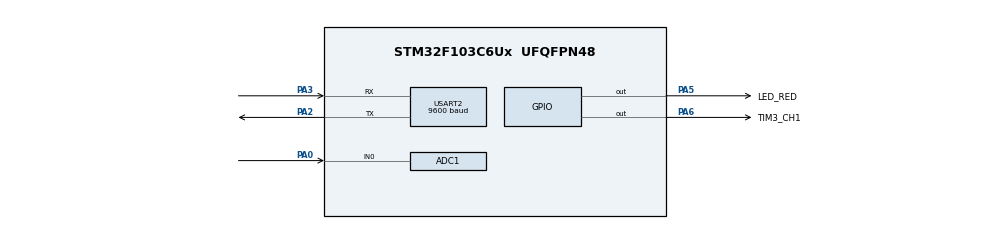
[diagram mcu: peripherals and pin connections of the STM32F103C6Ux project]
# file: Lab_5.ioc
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ADC1.Channel-0\#ChannelRegularConversion=ADC_CHANNEL_0
ADC1.ContinuousConvMode=ENABLE
ADC1.NbrOfConversionFlag=1
ADC1.Rank-0\#ChannelRegularConversion=1
ADC1.SamplingTime-0\#ChannelRegularConversion=ADC_SAMPLETIME_1CYCLE_5
ADC1.master=1
Mcu.Family=STM32F1
Mcu.Name=STM32F103C6Ux
Mcu.Package=UFQFPN48
NVIC.PriorityGroup=NVIC_PRIORITYGROUP_4
NVIC.TIM2_IRQn=true\:0\:0\:false\:false\:true\:true\:true
NVIC.USART2_IRQn=true\:0\:0\:false\:false\:true\:true\:true
PA0-WKUP.Signal=ADCx_IN0
PA2.Mode=Asynchronous
PA2.Signal=USART2_TX
PA3.Mode=Asynchronous
PA3.Signal=USART2_RX
PA5.GPIO_Label=LED_RED
PA5.Signal=GPIO_Output
PA6.GPIO_Label=TIM3_CH1
PA6.Signal=GPIO_Output
ProjectManager.HeapSize=0x200
ProjectManager.StackSize=0x400
ProjectManager.TargetToolchain=STM32CubeIDE
RCC.APB1Freq_Value=8000000
RCC.APB2Freq_Value=8000000
SH.ADCx_IN0.0=ADC1_IN0,IN0
TIM2.Period=9
TIM2.Prescaler=7999
USART2.BaudRate=9600
USART2.VirtualMode=VM_ASYNC
VP_SYS_VS_ND.Mode=No_Debug
VP_TIM2_VS_ClockSourceINT.Mode=Internal
board=custom

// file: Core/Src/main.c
/* USER CODE BEGIN Header */
/**
  ******************************************************************************
  * @file           : main.c
  * @brief          : Main program body
  ******************************************************************************
  * @attention
  *
  * <h2><center>&copy; Copyright (c) 2023 STMicroelectronics.
  * All rights reserved.</center></h2>
  *
  * This software component is licensed by ST under BSD 3-Clause license,
  * the "License"; You may not use this file except in compliance with the
  * License. You may obtain a copy of the License at:
  *                        opensource.org/licenses/BSD-3-Clause
  *
  ******************************************************************************
  */
/* USER CODE END Header */
#include "main.h"
#include "software_timer.h"
#include "uart.h"
#include "stdio.h"
#include "string.h"

ADC_HandleTypeDef hadc1;

TIM_HandleTypeDef htim2;

UART_HandleTypeDef huart2;

void SystemClock_Config(void);
static void MX_GPIO_Init(void);
static void MX_ADC1_Init(void);
static void MX_USART2_UART_Init(void);
static void MX_TIM2_Init(void);

int main(void)
{

  /* MCU Configuration--------------------------------------------------------*/

  /* Reset of all peripherals, Initializes the Flash interface and the Systick. */
  HAL_Init();

  /* Configure the system clock */
  SystemClock_Config();

  /* Initialize all configured peripherals */
  MX_GPIO_Init();
  MX_ADC1_Init();
  MX_USART2_UART_Init();
  MX_TIM2_Init();
  /* USER CODE BEGIN 2 */
  HAL_TIM_Base_Start_IT(&htim2);
  HAL_ADC_Start(&hadc1);

  uint8_t wait_data[]="Wait a lots \r";
  HAL_Delay(2000);
  HAL_UART_Transmit(&huart2, wait_data, sizeof(wait_data), 1000);
  HAL_UART_Receive_IT(&huart2, &temp, 1);
  setTimer1(100);
  /* USER CODE END 2 */

  /* Infinite loop */
  while (1)
  {
	  if (buffer_flag == 1)
	  {
		  command_parser_fsm();
		  buffer_flag = 0;
	  }
	  uart_communication_fsm();
	  if (timer1_flag == 1)
	  {
		  setTimer1(100);
		  HAL_GPIO_TogglePin(LED_RED_GPIO_Port, LED_RED_Pin);
	  }
  }
}

void SystemClock_Config(void)
{
  RCC_OscInitTypeDef RCC_OscInitStruct = {0};
  RCC_ClkInitTypeDef RCC_ClkInitStruct = {0};
  RCC_PeriphCLKInitTypeDef PeriphClkInit = {0};

  /** Initializes the RCC Oscillators according to the specified parameters
  * in the RCC_OscInitTypeDef structure.
  */
  RCC_OscInitStruct.OscillatorType = RCC_OSCILLATORTYPE_HSI;
  RCC_OscInitStruct.HSIState = RCC_HSI_ON;
  RCC_OscInitStruct.HSICalibrationValue = RCC_HSICALIBRATION_DEFAULT;
  RCC_OscInitStruct.PLL.PLLState = RCC_PLL_NONE;
  if (HAL_RCC_OscConfig(&RCC_OscInitStruct) != HAL_OK)
  {
    Error_Handler();
  }
  /** Initializes the CPU, AHB and APB buses clocks
  */
  RCC_ClkInitStruct.ClockType = RCC_CLOCKTYPE_HCLK|RCC_CLOCKTYPE_SYSCLK
                              |RCC_CLOCKTYPE_PCLK1|RCC_CLOCKTYPE_PCLK2;
  RCC_ClkInitStruct.SYSCLKSource = RCC_SYSCLKSOURCE_HSI;
  RCC_ClkInitStruct.AHBCLKDivider = RCC_SYSCLK_DIV1;
  RCC_ClkInitStruct.APB1CLKDivider = RCC_HCLK_DIV1;
  RCC_ClkInitStruct.APB2CLKDivider = RCC_HCLK_DIV1;

  if (HAL_RCC_ClockConfig(&RCC_ClkInitStruct, FLASH_LATENCY_0) != HAL_OK)
  {
    Error_Handler();
  }
  PeriphClkInit.PeriphClockSelection = RCC_PERIPHCLK_ADC;
  PeriphClkInit.AdcClockSelection = RCC_ADCPCLK2_DIV2;
  if (HAL_RCCEx_PeriphCLKConfig(&PeriphClkInit) != HAL_OK)
  {
    Error_Handler();
  }
}

static void MX_ADC1_Init(void)
{

  ADC_ChannelConfTypeDef sConfig = {0};

  /** Common config
  */
  hadc1.Instance = ADC1;
  hadc1.Init.ScanConvMode = ADC_SCAN_DISABLE;
  hadc1.Init.ContinuousConvMode = ENABLE;
  hadc1.Init.DiscontinuousConvMode = DISABLE;
  hadc1.Init.ExternalTrigConv = ADC_SOFTWARE_START;
  hadc1.Init.DataAlign = ADC_DATAALIGN_RIGHT;
  hadc1.Init.NbrOfConversion = 1;
  if (HAL_ADC_Init(&hadc1) != HAL_OK)
  {
    Error_Handler();
  }
  /** Configure Regular Channel
  */
  sConfig.Channel = ADC_CHANNEL_0;
  sConfig.Rank = ADC_REGULAR_RANK_1;
  sConfig.SamplingTime = ADC_SAMPLETIME_1CYCLE_5;
  if (HAL_ADC_ConfigChannel(&hadc1, &sConfig) != HAL_OK)
  {
    Error_Handler();
  }

}

static void MX_TIM2_Init(void)
{

  TIM_ClockConfigTypeDef sClockSourceConfig = {0};
  TIM_MasterConfigTypeDef sMasterConfig = {0};

  htim2.Instance = TIM2;
  htim2.Init.Prescaler = 7999;
  htim2.Init.CounterMode = TIM_COUNTERMODE_UP;
  htim2.Init.Period = 9;
  htim2.Init.ClockDivision = TIM_CLOCKDIVISION_DIV1;
  htim2.Init.AutoReloadPreload = TIM_AUTORELOAD_PRELOAD_DISABLE;
  if (HAL_TIM_Base_Init(&htim2) != HAL_OK)
  {
    Error_Handler();
  }
  sClockSourceConfig.ClockSource = TIM_CLOCKSOURCE_INTERNAL;
  if (HAL_TIM_ConfigClockSource(&htim2, &sClockSourceConfig) != HAL_OK)
  {
    Error_Handler();
  }
  sMasterConfig.MasterOutputTrigger = TIM_TRGO_RESET;
  sMasterConfig.MasterSlaveMode = TIM_MASTERSLAVEMODE_DISABLE;
  if (HAL_TIMEx_MasterConfigSynchronization(&htim2, &sMasterConfig) != HAL_OK)
  {
    Error_Handler();
  }

}

static void MX_USART2_UART_Init(void)
{

  huart2.Instance = USART2;
  huart2.Init.BaudRate = 9600;
  huart2.Init.WordLength = UART_WORDLENGTH_8B;
  huart2.Init.StopBits = UART_STOPBITS_1;
  huart2.Init.Parity = UART_PARITY_NONE;
  huart2.Init.Mode = UART_MODE_TX_RX;
  huart2.Init.HwFlowCtl = UART_HWCONTROL_NONE;
  huart2.Init.OverSampling = UART_OVERSAMPLING_16;
  if (HAL_UART_Init(&huart2) != HAL_OK)
  {
    Error_Handler();
  }

}

static void MX_GPIO_Init(void)
{
  GPIO_InitTypeDef GPIO_InitStruct = {0};

  /* GPIO Ports Clock Enable */
  __HAL_RCC_GPIOA_CLK_ENABLE();

  /*Configure GPIO pin Output Level */
  HAL_GPIO_WritePin(GPIOA, LED_RED_Pin|TIM3_CH1_Pin, GPIO_PIN_RESET);

  /*Configure GPIO pins : LED_RED_Pin TIM3_CH1_Pin */
  GPIO_InitStruct.Pin = LED_RED_Pin|TIM3_CH1_Pin;
  GPIO_InitStruct.Mode = GPIO_MODE_OUTPUT_PP;
  GPIO_InitStruct.Pull = GPIO_NOPULL;
  GPIO_InitStruct.Speed = GPIO_SPEED_FREQ_LOW;
  HAL_GPIO_Init(GPIOA, &GPIO_InitStruct);

}

/* USER CODE BEGIN 4 */
void HAL_TIM_PeriodElapsedCallback(TIM_HandleTypeDef *htim)
{
	timer1Run();
	timer2Run();
}
void HAL_UART_RxCpltCallback ( UART_HandleTypeDef * huart )
{
	if( huart -> Instance == USART2 )
	{
		buffer[index_buffer++]= temp;
		if (index_buffer == 30) index_buffer = 0;
		buffer_flag = 1;
		HAL_UART_Transmit(&huart2, &temp, 1, 1000);
		HAL_UART_Receive_IT(&huart2, &temp, 1);
	}
}
/* USER CODE END 4 */

void Error_Handler(void)
{
  __disable_irq();
  while (1)
  {
  }
}

/************************ (C) COPYRIGHT STMicroelectronics *****END OF FILE****/
